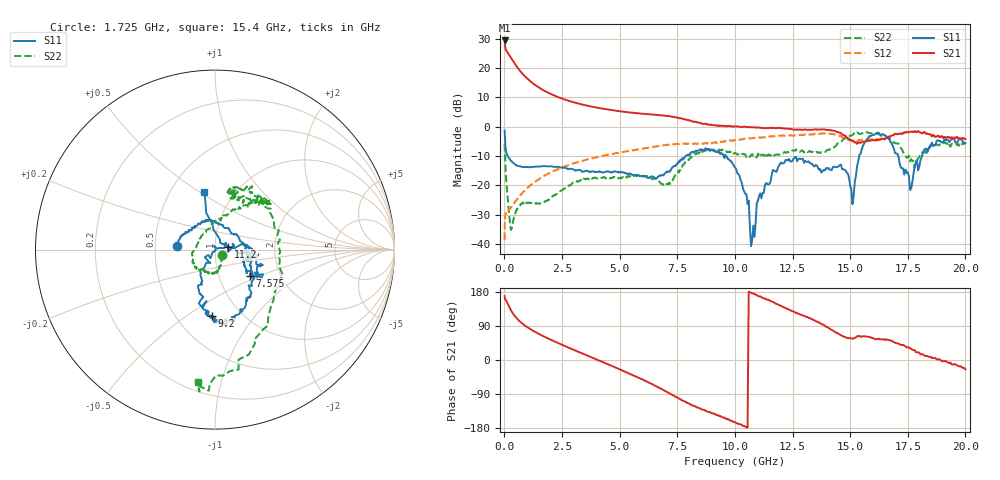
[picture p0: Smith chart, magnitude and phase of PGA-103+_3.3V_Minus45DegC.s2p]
!Mini-Circuits Laboratory
!S-Parameters, Port extension performed
!Model: PGA-103+
!Run / Lot / Date Code: N/A / BP170-001-01-101EV / 1210
!Fixture: TB-313
!Network Analyzer: PNA-X N5242A - 423 4 ports;  Serial number: 71013
!Date: 5/24/2012 at 5:20:48 PM
!S/N: Unit# 1
!Tested with: Vdd=3.3V at -45C
# Hz  S  dB  R  50
!Frequency  S11 dB  S11 Deg  S21 dB  S21 Deg  S12 dB  S12 Deg  S22 dB  S22 Deg
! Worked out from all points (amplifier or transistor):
!   660 points, 10 MHz to 20 GHz, reference 50 ohm
!   highest |S21| = 29.4 dB at 10 MHz (marker M1)
!   |S21| within 3 dB of that: start of sweep to 58.6 MHz
!   unconditionally stable (mu >= 1): 139.6 MHz to 14.44 GHz; 16.53 GHz to 17.12 GHz; 18.51 GHz to end of sweep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
!   at 1.275 GHz: K = 1.10, MAG = 14.9 dB, |S12| = -19.2 dB
!   at 6.775 GHz: K = 1.01, MAG = 4.6 dB, |S12| = -6.5 dB
!   at 20 GHz: K = 1.10, MAG = -1.9 dB, |S12| = -4.3 dB
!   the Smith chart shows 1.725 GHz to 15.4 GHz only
!   S11 on the Smith chart (normalised r, x): 1.725 GHz: 0.65, +0.03; 7.575 GHz: 1.41, -0.44; 9.2 GHz: 0.74, -0.63; 11.2 GHz: 1.15, +0.04; 15.4 GHz: 0.73, +0.53
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1e7  -1.35 -22.5  29.36 168.5  -38.60 62.8  -5.98 -30.0
6e7  -7.84 -44.1  26.32 158.9  -29.57 23.8  -15.74 -71.8
1.1e8  -9.47 -49.7  25.58 153.3  -29.29 23.0  -21.39 -76.8
2e8  -10.81 -65.4  24.53 141.5  -28.47 28.6  -29.11 -66.9
2.8e8  -11.61 -80.6  23.52 132.0  -27.67 33.0  -34.89 -26.0
4e8  -12.47 -99.7  22.03 120.4  -26.35 39.2  -31.44 18.8
5.3e8  -13.23 -116.4  20.53 110.5  -24.98 43.9  -28.29 17.4
7.3e8  -13.65 -136.4  18.52 98.6  -23.08 47.3  -26.38 13.5
1e9  -13.78 -155.9  16.31 86.4  -20.95 48.6  -26.13 1.3
1.725e9  -13.49 174.0  12.26 61.8  -16.83 42.9  -25.66 -37.2
3.35e9  -15.34 140.9  7.54 18.0  -11.79 15.9  -18.41 -84.2
6.675e9  -17.10 38.3  3.92 -72.0  -6.68 -60.9  -18.27 -175.5
7.575e9  -12.21 -36.9  2.82 -102.1  -5.98 -87.6  -15.65 78.9
9.2e9  -8.65 -92.6  0.44 -144.7  -5.37 -132.3  -7.97 41.7
1.005e10  -14.40 -111.7  0.11 -165.8  -4.48 -154.6  -9.16 52.6
1.075e10  -38.77 68.6  -0.22 176.3  -3.95 -173.2  -9.40 61.9
1.12e10  -22.64 12.1  -0.47 163.9  -3.66 173.8  -9.54 71.3
1.335e10  -12.75 -30.1  -1.05 108.2  -2.64 115.6  -8.69 28.1
1.54e10  -9.67 100.3  -5.34 63.9  -4.49 70.1  -2.58 -97.4
1.67e10  -4.39 41.9  -3.39 52.7  -3.34 52.7  -3.85 -103.4
1.76e10  -21.63 131.1  -1.76 31.4  -1.79 31.4  -11.86 -60.8
2e10  -5.57 108.5  -4.21 -24.6  -4.27 -24.8  -5.31 -12.1
